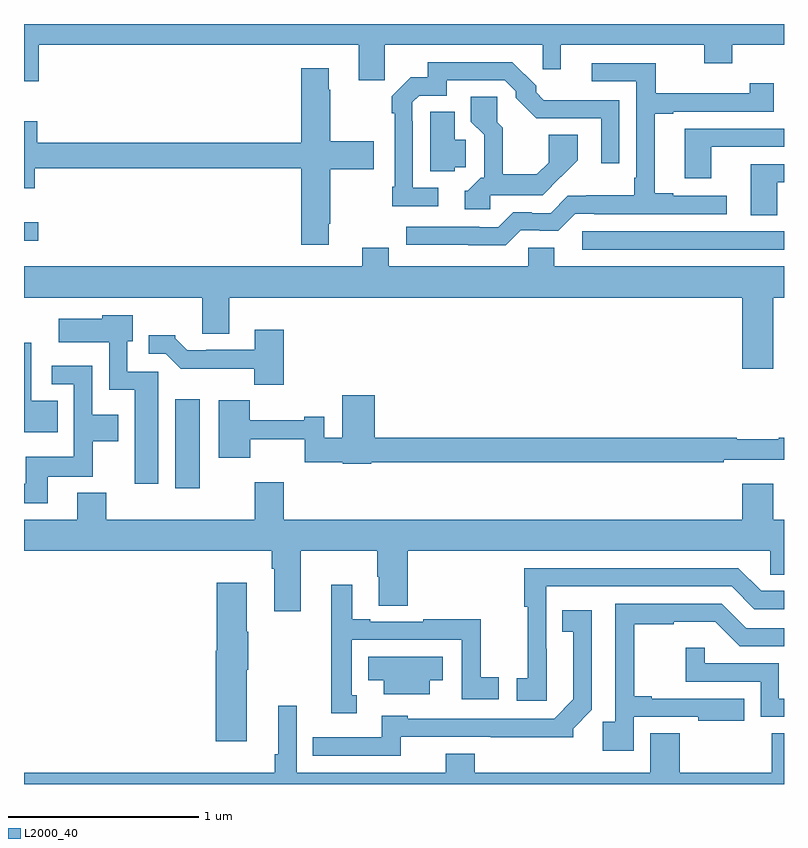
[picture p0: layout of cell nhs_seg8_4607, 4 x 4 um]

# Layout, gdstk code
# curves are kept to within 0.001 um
import gdstk
lib = gdstk.Library(unit=1e-6, precision=1e-09)
def R(c, l, rs):  # rectangles x0, y0, x1, y1
    for r in rs: c.add(gdstk.rectangle(r[:2], r[2:], *l))
def P(c, l, *ps):  # polygons
    for p in ps: c.add(gdstk.Polygon(p, *l))
L2000_40 = (2000, 40)

nhs_seg8_4607 = lib.new_cell('nhs_seg8_4607')
R(nhs_seg8_4607, L2000_40, [(389.795,1155.456,389.926,1155.925), (391.938,1156.713,393,1156.809), (389,1156.76,389.074,1156.857)])
P(nhs_seg8_4607, L2000_40, [(389.078,1157.792),(390.761,1157.792),(390.761,1157.604),(390.899,1157.604),(390.899,1157.792),(391.729,1157.792),(391.729,1157.663),(391.825,1157.663),(391.825,1157.792),(392.579,1157.792),(392.579,1157.693),(392.727,1157.693),(392.727,1157.792),(393,1157.792),(393,1157.9),(389,1157.9),(389,1157.598),(389.078,1157.598)],
  [(391.18,1157.037),(391.047,1157.037),(391.047,1157.387),(391.044,1157.387),(391.044,1157.487),(391.08,1157.523),(391.224,1157.523),(391.224,1157.604),(391.53,1157.604),(391.587,1157.547),(391.587,1157.513),(391.697,1157.403),(392.037,1157.403),(392.037,1157.166),(392.133,1157.166),(392.133,1157.499),(391.736,1157.5),(391.696,1157.541),(391.696,1157.575),(391.57,1157.7),(391.126,1157.7),(391.126,1157.62),(391.036,1157.62),(390.936,1157.52),(390.936,1157.429),(390.95,1157.429),(390.95,1157.044),(390.939,1157.044),(390.939,1156.941),(391.18,1156.941)],
  [(391.614,1156.815),(391.715,1156.815),(391.715,1156.812),(391.812,1156.812),(391.902,1156.902),(392.002,1156.902),(392.002,1156.899),(392.698,1156.899),(392.698,1156.995),(392.416,1156.995),(392.416,1157.008),(392.32,1157.008),(392.32,1157.427),(392.416,1157.427),(392.416,1157.439),(392.947,1157.439),(392.947,1157.587),(392.819,1157.587),(392.819,1157.536),(392.324,1157.536),(392.324,1157.694),(391.989,1157.694),(391.989,1157.598),(392.223,1157.598),(392.223,1157.092),(392.211,1157.092),(392.211,1156.999),(391.96,1156.999),(391.96,1156.995),(391.863,1156.995),(391.773,1156.905),(391.673,1156.905),(391.673,1156.908),(391.575,1156.908),(391.497,1156.83),(391.397,1156.83),(391.397,1156.833),(391.011,1156.833),(391.011,1156.737),(391.535,1156.736)],
  [(390.604,1156.849),(390.612,1156.849),(390.612,1157.135),(390.841,1157.135),(390.841,1157.282),(390.612,1157.282),(390.612,1157.555),(390.604,1157.555),(390.604,1157.668),(390.458,1157.668),(390.458,1157.276),(389.069,1157.276),(389.069,1157.389),(389,1157.389),(389,1157.036),(389.056,1157.036),(389.056,1157.14),(390.458,1157.14),(390.458,1156.737),(390.604,1156.737)],
  [(391.455,1156.998),(391.729,1156.998),(391.915,1157.182),(391.915,1157.318),(391.761,1157.318),(391.761,1157.17),(391.699,1157.109),(391.52,1157.109),(391.52,1157.354),(391.491,1157.383),(391.491,1157.518),(391.352,1157.518),(391.352,1157.386),(391.422,1157.316),(391.422,1157.091),(391.404,1157.091),(391.335,1157.022),(391.319,1157.022),(391.319,1156.926),(391.455,1156.926)],
  [(391.266,1157.145),(391.326,1157.145),(391.326,1157.291),(391.267,1157.291),(391.267,1157.438),(391.137,1157.438),(391.137,1157.126),(391.266,1157.126)],
  [(392.617,1157.253),(393,1157.253),(393,1157.349),(392.477,1157.349),(392.477,1157.088),(392.617,1157.088)],
  [(392.965,1157.067),(393,1157.067),(393,1157.163),(392.825,1157.163),(392.825,1156.894),(392.965,1156.894)],
  [(392.944,1156.46),(393,1156.46),(393,1156.624),(391.792,1156.624),(391.792,1156.722),(391.653,1156.722),(391.653,1156.624),(390.919,1156.624),(390.919,1156.723),(390.779,1156.723),(390.779,1156.624),(389,1156.624),(389,1156.46),(389.939,1156.46),(389.939,1156.27),(390.079,1156.27),(390.079,1156.46),(392.78,1156.46),(392.78,1156.086),(392.944,1156.086)],
  [(389.707,1156.071),(389.544,1156.071),(389.544,1156.23),(389.572,1156.23),(389.572,1156.366),(389.412,1156.366),(389.412,1156.348),(389.184,1156.348),(389.184,1156.226),(389.448,1156.226),(389.448,1155.974),(389.582,1155.974),(389.582,1155.48),(389.707,1155.48)],
  [(390.368,1156.291),(390.215,1156.291),(390.215,1156.185),(389.959,1156.185),(389.959,1156.182),(389.86,1156.182),(389.796,1156.246),(389.796,1156.261),(389.657,1156.261),(389.657,1156.164),(389.745,1156.164),(389.824,1156.086),(390.213,1156.086),(390.213,1156.001),(390.368,1156.001)],
  [(389.177,1155.916),(389.038,1155.916),(389.038,1156.222),(389,1156.222),(389,1155.752),(389.177,1155.752)],
  [(389.125,1155.518),(389.361,1155.518),(389.361,1155.704),(389.497,1155.704),(389.497,1155.844),(389.358,1155.844),(389.358,1156.101),(389.145,1156.101),(389.145,1156.005),(389.262,1156.005),(389.262,1155.622),(389.009,1155.622),(389.009,1155.48),(389,1155.48),(389,1155.378),(389.125,1155.378)],
  [(390.828,1155.594),(392.684,1155.594),(392.684,1155.606),(393,1155.606),(393,1155.722),(392.973,1155.722),(392.973,1155.715),(392.751,1155.715),(392.751,1155.722),(390.845,1155.722),(390.845,1155.946),(390.674,1155.946),(390.674,1155.722),(390.579,1155.722),(390.579,1155.833),(390.476,1155.833),(390.476,1155.815),(390.188,1155.815),(390.188,1155.919),(390.026,1155.919),(390.026,1155.618),(390.19,1155.618),(390.19,1155.715),(390.478,1155.715),(390.478,1155.594),(390.678,1155.594),(390.678,1155.586),(390.828,1155.586)],
  [(390.457,1155.128),(390.859,1155.128),(390.859,1154.99),(390.866,1154.99),(390.866,1154.839),(391.019,1154.839),(391.019,1155.128),(392.928,1155.128),(392.928,1155.001),(393,1155.001),(393,1155.292),(392.944,1155.292),(392.944,1155.481),(392.78,1155.481),(392.78,1155.292),(390.368,1155.292),(390.368,1155.487),(390.215,1155.487),(390.215,1155.292),(389.432,1155.292),(389.432,1155.433),(389.279,1155.433),(389.279,1155.292),(389,1155.292),(389,1155.128),(390.305,1155.128),(390.305,1155.032),(390.317,1155.032),(390.317,1154.808),(390.457,1154.808)],
  [(391.75,1154.612),(391.749,1154.94),(392.724,1154.94),(392.844,1154.82),(393,1154.82),(393,1154.916),(392.88,1154.916),(392.76,1155.036),(391.633,1155.036),(391.633,1154.833),(391.651,1154.833),(391.651,1154.457),(391.593,1154.457),(391.593,1154.337),(391.75,1154.337)],
  [(390.172,1154.501),(390.18,1154.501),(390.18,1154.701),(390.172,1154.701),(390.172,1154.959),(390.014,1154.959),(390.014,1154.601),(390.008,1154.601),(390.008,1154.124),(390.172,1154.124)],
  [(390.751,1154.367),(390.726,1154.367),(390.726,1154.658),(391.305,1154.658),(391.305,1154.346),(391.498,1154.346),(391.498,1154.462),(391.404,1154.462),(391.404,1154.767),(391.102,1154.767),(391.102,1154.754),(390.823,1154.754),(390.823,1154.767),(390.727,1154.767),(390.727,1154.95),(390.617,1154.95),(390.617,1154.705),(390.618,1154.705),(390.618,1154.273),(390.751,1154.273)],
  [(392.208,1154.253),(392.549,1154.253),(392.549,1154.234),(392.792,1154.234),(392.792,1154.349),(392.305,1154.349),(392.305,1154.362),(392.213,1154.362),(392.213,1154.742),(392.42,1154.742),(392.42,1154.753),(392.638,1154.753),(392.766,1154.625),(393,1154.625),(393,1154.721),(392.802,1154.721),(392.673,1154.85),(392.112,1154.85),(392.112,1154.227),(392.047,1154.227),(392.047,1154.076),(392.208,1154.076)],
  [(390.984,1154.148),(391.89,1154.147),(391.89,1154.191),(391.989,1154.29),(391.989,1154.815),(391.834,1154.815),(391.834,1154.702),(391.892,1154.702),(391.892,1154.345),(391.791,1154.244),(391.02,1154.244),(391.02,1154.26),(390.884,1154.26),(390.884,1154.145),(390.52,1154.145),(390.52,1154.049),(390.984,1154.049)],
  [(393,1154.349),(392.973,1154.349),(392.973,1154.535),(392.583,1154.535),(392.583,1154.617),(392.482,1154.617),(392.482,1154.439),(392.877,1154.439),(392.877,1154.253),(393,1154.253)],
  [(391.135,1154.447),(391.204,1154.447),(391.204,1154.569),(390.811,1154.569),(390.811,1154.447),(390.893,1154.447),(390.893,1154.372),(391.135,1154.372)],
  [(389,1153.9),(393,1153.9),(393,1154.168),(392.936,1154.168),(392.936,1153.96),(392.45,1153.96),(392.45,1154.168),(392.297,1154.168),(392.297,1153.96),(391.373,1153.96),(391.373,1154.059),(391.22,1154.059),(391.22,1153.96),(390.435,1153.96),(390.435,1154.311),(390.338,1154.311),(390.338,1154.056),(390.319,1154.056),(390.319,1153.96),(389,1153.96)])

lib.write_gds('nhs_seg8_4607.gds')
